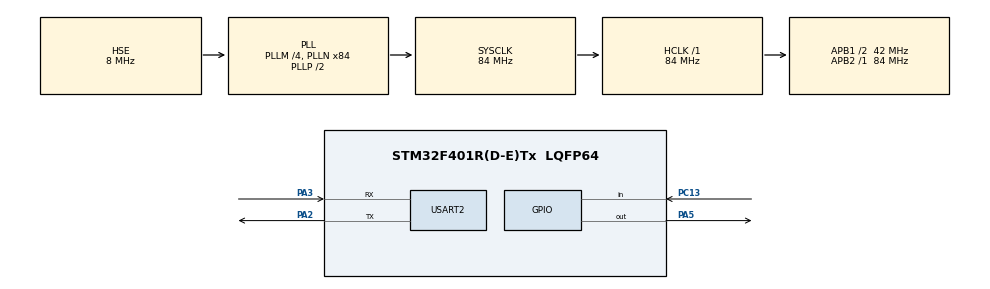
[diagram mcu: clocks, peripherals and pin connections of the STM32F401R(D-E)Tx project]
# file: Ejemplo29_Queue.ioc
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Mcu.Family=STM32F4
Mcu.Name=STM32F401R(D-E)Tx
Mcu.Package=LQFP64
NVIC.PriorityGroup=NVIC_PRIORITYGROUP_4
NVIC.TIM1_TRG_COM_TIM11_IRQn=true\:15\:0\:false\:false\:true\:false\:true\:true
NVIC.TimeBase=TIM1_TRG_COM_TIM11_IRQn
NVIC.TimeBaseIP=TIM11
NVIC.USART2_IRQn=true\:0\:0\:false\:false\:true\:true\:true\:true
PA2.Mode=Asynchronous
PA2.Signal=USART2_TX
PA3.Mode=Asynchronous
PA3.Signal=USART2_RX
PA5.Signal=GPIO_Output
PC13-ANTI_TAMP.Signal=GPIO_Input
PH0\ -\ OSC_IN.Mode=HSE-External-Clock-Source
PH0\ -\ OSC_IN.Signal=RCC_OSC_IN
PH1\ -\ OSC_OUT.Mode=HSE-External-Clock-Source
PH1\ -\ OSC_OUT.Signal=RCC_OSC_OUT
ProjectManager.HeapSize=0x200
ProjectManager.StackSize=0x400
ProjectManager.TargetToolchain=STM32CubeIDE
RCC.48MHZClocksFreq_Value=42000000
RCC.AHBFreq_Value=84000000
RCC.APB1CLKDivider=RCC_HCLK_DIV2
RCC.APB1Freq_Value=42000000
RCC.APB1TimFreq_Value=84000000
RCC.APB2Freq_Value=84000000
RCC.APB2TimFreq_Value=84000000
RCC.CortexFreq_Value=84000000
RCC.HCLKFreq_Value=84000000
RCC.HSE_VALUE=8000000
RCC.HSI_VALUE=16000000
RCC.LSE_VALUE=32768
RCC.PLLM=4
RCC.PLLN=84
RCC.PLLSourceVirtual=RCC_PLLSOURCE_HSE
RCC.SYSCLKFreq_VALUE=84000000
RCC.SYSCLKSource=RCC_SYSCLKSOURCE_PLLCLK
RCC.VCOOutputFreq_Value=168000000
USART2.VirtualMode=VM_ASYNC
VP_SYS_VS_tim11.Mode=TIM11
board=custom

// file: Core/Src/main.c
/* USER CODE BEGIN Header */
/**
  ******************************************************************************
  * @file           : main.c
  * @brief          : Main program body
  ******************************************************************************
  * @attention
  *
  * Copyright (c) 2022 STMicroelectronics.
  * All rights reserved.
  *
  * This software is licensed under terms that can be found in the LICENSE file
  * in the root directory of this software component.
  * If no LICENSE file comes with this software, it is provided AS-IS.
  *
  ******************************************************************************
  */
/* USER CODE END Header */
#include "main.h"
#include "usart.h"
#include "gpio.h"

/* USER CODE BEGIN Includes */
#include "FreeRTOS.h"
#include "task.h"
#include "queue.h"

#include <stdio.h>
#include <stdarg.h>
#include <string.h>
/* USER CODE END Includes */

/* USER CODE BEGIN PM */
/**
 * 0 : no se desea usar segger system view
 * 1 : se usa para la depuracion
 */
#define SYSTEM_VIEW				1
/* USER CODE END PM */

void SystemClock_Config(void);
/* USER CODE BEGIN PFP */

void UART_Printf(char *format,...);
/* USER CODE END PFP */

/* USER CODE BEGIN 0 */

xTaskHandle xTask1;
xTaskHandle xTask2;

xQueueHandle xQueue;

void vTask1(void *params);
void vTask2(void *params);

/* USER CODE END 0 */

int main(void)
{
  /* USER CODE BEGIN 1 */
	BaseType_t status=0;
  /* USER CODE END 1 */

  /* MCU Configuration--------------------------------------------------------*/

  /* Reset of all peripherals, Initializes the Flash interface and the Systick. */
  HAL_Init();

  /* Configure the system clock */
  SystemClock_Config();

  /* Initialize all configured peripherals */
  MX_GPIO_Init();
  MX_USART2_UART_Init();

  /* USER CODE BEGIN 2 */
#if SYSTEM_VIEW
  DWT->CTRL |= 1;
  SEGGER_SYSVIEW_Conf();
  /*solo se va usar cuando se trabaje en modo one shot*/
//  SEGGER_SYSVIEW_Start();

#endif

  status= xTaskCreate(vTask1, "tarea1", configMINIMAL_STACK_SIZE, NULL, 0, xTask1);
  configASSERT(status == pdPASS);
  status= xTaskCreate(vTask2, "tarea2", configMINIMAL_STACK_SIZE, NULL, 0, xTask2);
    configASSERT(status == pdPASS);

    xQueue = xQueueCreate(5,sizeof(char));
    configASSERT(xQueue != NULL);
  /* inicializa el kernel*/
  vTaskStartScheduler();
  /* USER CODE END 2 */

  /* Infinite loop */
  while (1)
  {

  }
}

void SystemClock_Config(void)
{
  RCC_OscInitTypeDef RCC_OscInitStruct = {0};
  RCC_ClkInitTypeDef RCC_ClkInitStruct = {0};

  /** Configure the main internal regulator output voltage
  */
  __HAL_RCC_PWR_CLK_ENABLE();
  __HAL_PWR_VOLTAGESCALING_CONFIG(PWR_REGULATOR_VOLTAGE_SCALE2);

  /** Initializes the RCC Oscillators according to the specified parameters
  * in the RCC_OscInitTypeDef structure.
  */
  RCC_OscInitStruct.OscillatorType = RCC_OSCILLATORTYPE_HSE;
  RCC_OscInitStruct.HSEState = RCC_HSE_BYPASS;
  RCC_OscInitStruct.PLL.PLLState = RCC_PLL_ON;
  RCC_OscInitStruct.PLL.PLLSource = RCC_PLLSOURCE_HSE;
  RCC_OscInitStruct.PLL.PLLM = 4;
  RCC_OscInitStruct.PLL.PLLN = 84;
  RCC_OscInitStruct.PLL.PLLP = RCC_PLLP_DIV2;
  RCC_OscInitStruct.PLL.PLLQ = 4;
  if (HAL_RCC_OscConfig(&RCC_OscInitStruct) != HAL_OK)
  {
    Error_Handler();
  }

  /** Initializes the CPU, AHB and APB buses clocks
  */
  RCC_ClkInitStruct.ClockType = RCC_CLOCKTYPE_HCLK|RCC_CLOCKTYPE_SYSCLK
                              |RCC_CLOCKTYPE_PCLK1|RCC_CLOCKTYPE_PCLK2;
  RCC_ClkInitStruct.SYSCLKSource = RCC_SYSCLKSOURCE_PLLCLK;
  RCC_ClkInitStruct.AHBCLKDivider = RCC_SYSCLK_DIV1;
  RCC_ClkInitStruct.APB1CLKDivider = RCC_HCLK_DIV2;
  RCC_ClkInitStruct.APB2CLKDivider = RCC_HCLK_DIV1;

  if (HAL_RCC_ClockConfig(&RCC_ClkInitStruct, FLASH_LATENCY_2) != HAL_OK)
  {
    Error_Handler();
  }
}

/* USER CODE BEGIN 4 */

void vTask1(void *params){
uint8_t var;
BaseType_t estado;

	for (;;) {
		var++;
		estado = xQueueSend(xQueue,( void * ) &var,HAL_MAX_DELAY);
		if (estado ==pdTRUE) {
			SEGGER_SYSVIEW_PrintfHost("Dato Enviado");
		}else {
			SEGGER_SYSVIEW_PrintfHost("error");
		}
		vTaskDelay(pdMS_TO_TICKS(20));
	}
vTaskDelete(NULL);
}
void vTask2(void *params){
	uint8_t var;
	BaseType_t estado;
for(;;){

	estado = xQueueReceive(xQueue, (void *)&var, 500);
	if (estado ==pdTRUE) {
				SEGGER_SYSVIEW_PrintfHost("Dato recibido :%u",var);
			}else {
				SEGGER_SYSVIEW_PrintfHost("Dato no disponivke");
			}
			vTaskDelay(pdMS_TO_TICKS(500));
}
vTaskDelete(NULL);

}

void UART_Printf(char *format,...){
    char str[80];

    /*Extract the the argument list using VA apis */
    va_list args;
    va_start(args, format);
    vsprintf(str, format,args);
    HAL_UART_Transmit(&huart2, (uint8_t*)str, strlen(str), 10);
    va_end(args);
}
/* USER CODE END 4 */

void HAL_TIM_PeriodElapsedCallback(TIM_HandleTypeDef *htim)
{
  if (htim->Instance == TIM11) {
    HAL_IncTick();
  }
}

void Error_Handler(void)
{
  __disable_irq();
  while (1)
  {
  }
}
